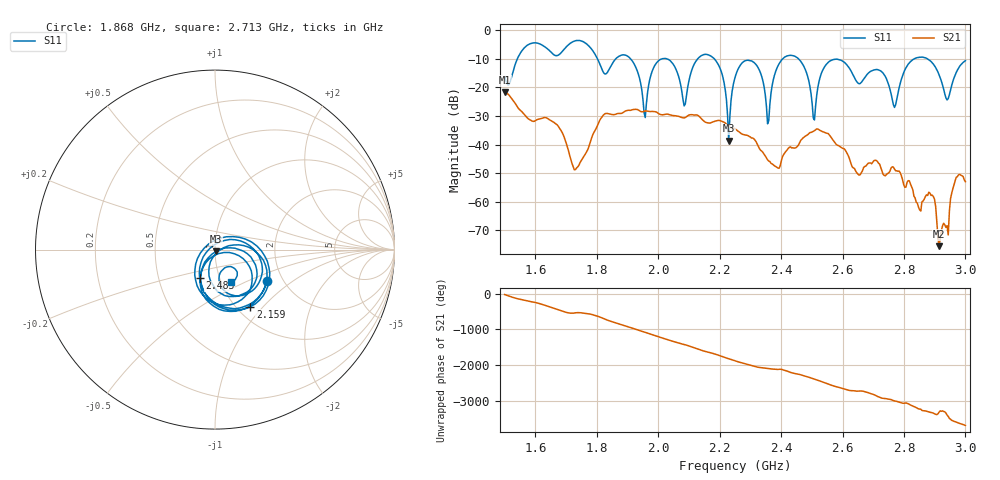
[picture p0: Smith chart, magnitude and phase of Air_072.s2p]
# HZ S RI R 50
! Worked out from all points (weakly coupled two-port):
!   404 points, 1.5 GHz to 3 GHz, reference 50 ohm
!   highest |S21| = -21.78 dB at 1.5 GHz (marker M1); lowest = -75.5 dB at 2.914 GHz (marker M2)
!   lowest |S11| = -38.7 dB at 2.23 GHz (marker M3), VSWR 1.02, Z = 50.5 - j1.06 ohm
!   |S11| at or under -10 dB: 2.182 GHz to 2.406 GHz (223.7 MHz wide, 9.75 % of centre); 2.456 GHz to 2.834 GHz (378.2 MHz wide, 14.3 % of centre); 2.876 GHz to end of sweep (the widest 3 of 7)
!   S12 and S22 are empty: the file has one direction only
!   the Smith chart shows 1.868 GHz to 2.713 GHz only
!   S11 on the Smith chart (normalised r, x): 1.868 GHz: 1.64, -0.66; 2.159 GHz: 1.15, -0.85; 2.483 GHz: 0.80, -0.26; 2.713 GHz: 1.11, -0.43
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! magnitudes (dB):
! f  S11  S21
! 1.5 GHz  -16.3  -21.8
! 1.753 GHz  -3.9  -45.0
! 1.868 GHz  -9.4  -29.2
! 1.958 GHz  -30.6  -28.3
! 2.002 GHz  -10.6  -29.3
! 2.084 GHz  -26.5  -30.7
! 2.159 GHz  -8.5  -32.4
! 2.23 GHz  -38.7  -33.6
! 2.252 GHz  -15.9  -34.6
! 2.315 GHz  -11.7  -38.5
! 2.356 GHz  -32.8  -45.4
! 2.408 GHz  -9.8  -43.5
! 2.483 GHz  -14.9  -36.9
! 2.501 GHz  -25.8  -35.6
! 2.561 GHz  -10.7  -37.2
! 2.713 GHz  -13.8  -45.9
! 2.751 GHz  -19.3  -49.9
! 2.892 GHz  -11.4  -57.7
! 2.914 GHz  -15.6  -75.5
! 2.94 GHz  -24.4  -68.4
! 2.967 GHz  -15.8  -52.7
! 3 GHz  -10.7  -53.0
